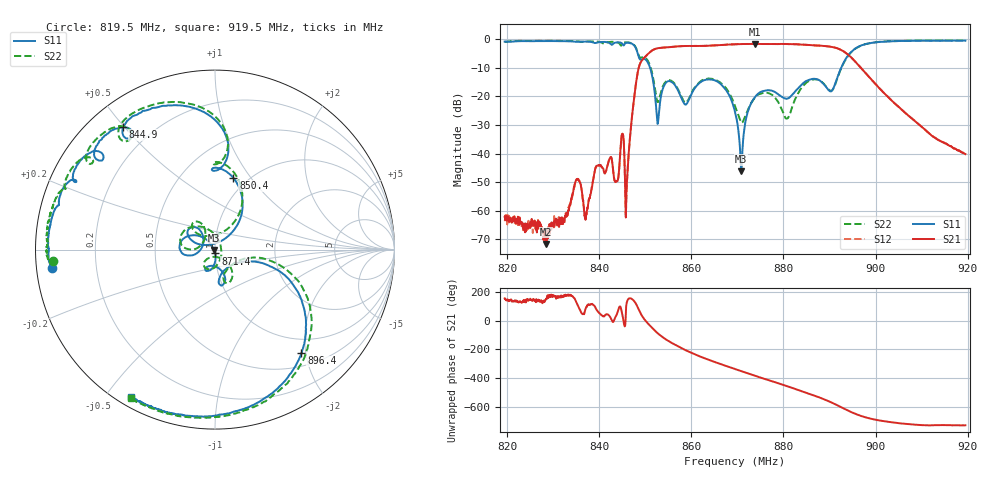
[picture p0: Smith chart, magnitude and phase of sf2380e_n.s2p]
# Hz S RI R 50
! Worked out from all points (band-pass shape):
!   1601 points, 819.5 MHz to 919.5 MHz, reference 50 ohm
!   highest |S21| = -1.61 dB at 873.8 MHz (marker M1); lowest = -71.7 dB at 828.5 MHz (marker M2)
!   |S21| within 3 dB of the highest: 851 MHz to 893.4 MHz (42.46 MHz wide, 4.87 % of centre)
!   lowest |S11| = -46.2 dB at 870.9 MHz (marker M3), VSWR 1.01, Z = 49.6 - j0.242 ohm
!   |S11| at or under -10 dB: 851.1 MHz to 892.5 MHz (41.47 MHz wide, 4.76 % of centre)
!   |S22| runs from -29.2 to -0.4 dB; largest |S21 - S12| = 0.0044
!   S11 on the Smith chart (normalised r, x): 819.5 MHz: 0.05, -0.06; 844.9 MHz: 0.10, +0.50; 850.4 MHz: 0.86, +0.83; 871.4 MHz: 1.00, -0.04; 896.4 MHz: 0.72, -1.92; 919.5 MHz: 0.04, -0.58
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8.195e8  -0.9064 -0.1041  -0.000717 0.000328  -0.000601 0.000357  -0.9011 -0.0647
8.285e8  -0.9286 0.0651  -0.000227 0.00013  -0.000345 0.000204  -0.9306 0.1175
8.361875e8  -0.8679 0.2871  0.0015 0.00193  0.0014 0.00196  -0.8356 0.3381
8.4375e8  -0.6519 0.591  0.0026 0.00203  0.00258 0.00208  -0.5957 0.6655
8.449375e8  -0.5138 0.6837  0.0109 0.0183  0.0108 0.0182  -0.5143 0.6057
8.460625e8  -0.4598 0.7428  -0.00229 0.00252  -0.00229 0.00239  -0.4267 0.7774
8.481875e8  0.0614 0.6324  -0.0627 0.203  -0.062 0.202  0.0619 0.6486
8.504375e8  0.1031 0.3986  0.5205 -0.1248  0.5215 -0.1249  0.1085 0.4261
8.52875e8  -0.0304 0.0276  -0.0237 -0.7008  -0.0238 -0.6993  -0.0275 0.0763
8.54875e8  -0.1525 0.1019  -0.5411 -0.4822  -0.5416 -0.4831  -0.1266 0.1433
8.580625e8  -0.0641 0.0577  -0.7344 0.1957  -0.7338 0.1963  -0.0543 0.0745
8.634375e8  -0.1972 0.00839  -0.0151 0.7698  -0.0147 0.7707  -0.1939 0.0638
8.695e8  -0.0335 0.042  0.758 0.3064  0.7591 0.3065  0.00925 0.0675
8.70875e8  -0.00426 -0.00244  0.8183 0.098  0.8192 0.0983  0.0335 0.01
8.71375e8  0.00201 -0.0213  0.8252 0.0207  0.8259 0.0185  0.0368 -0.0127
8.738125e8  -0.0101 -0.0964  0.755 -0.3461  0.7539 -0.3467  0.0032 -0.0952
8.808125e8  -0.00718 -0.091  -0.1093 -0.819  -0.1092 -0.8195  0.0015 -0.0411
8.861875e8  0.0441 -0.1969  -0.7267 -0.3074  -0.7265 -0.307  0.0862 -0.1762
8.920625e8  0.2447 -0.0704  -0.3744 0.5659  -0.3721 0.5664  0.2452 -0.0449
8.964375e8  0.4809 -0.5777  0.1752 0.2967  0.1751 0.2971  0.5174 -0.5369
9.02875e8  0.0513 -0.9172  0.0925 0.0214  0.0927 0.0212  0.0914 -0.919
9.195e8  -0.4676 -0.8223  0.00964 -0.00181  0.00954 -0.00195  -0.4689 -0.8285
